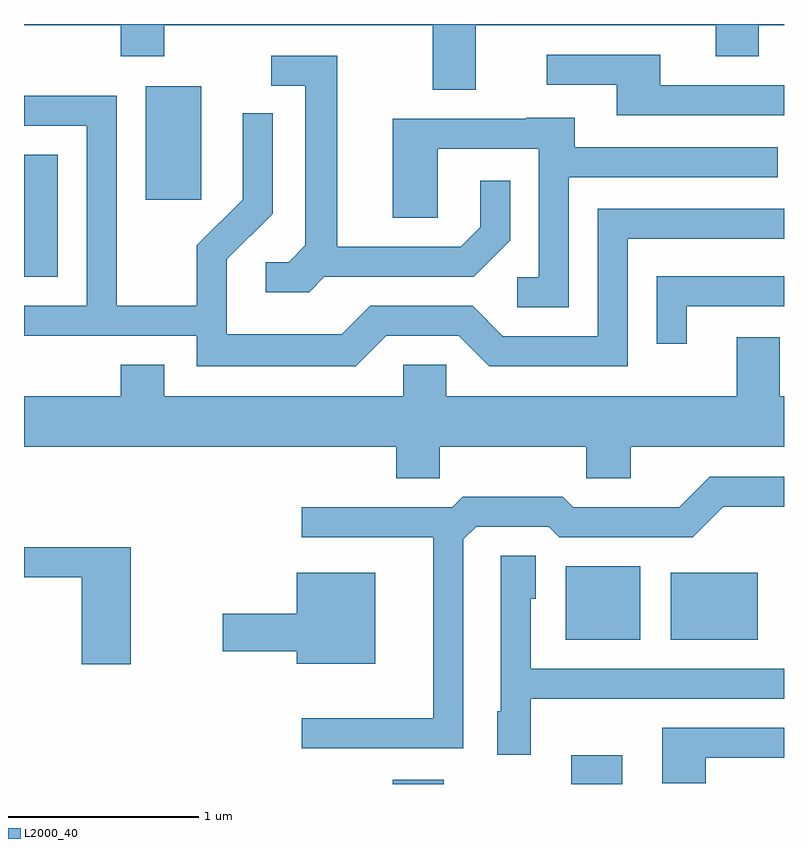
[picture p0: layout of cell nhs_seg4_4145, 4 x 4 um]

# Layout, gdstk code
import gdstk
lib = gdstk.Library(unit=1e-6, precision=1e-09)
def R(c, l, rs):  # rectangles x0, y0, x1, y1
    for r in rs: c.add(gdstk.rectangle(r[:2], r[2:], *l))
def P(c, l, *ps):  # polygons
    for p in ps: c.add(gdstk.Polygon(p, *l))
L2000_40 = (2000, 40)

nhs_seg4_4145 = lib.new_cell('nhs_seg4_4145')
R(nhs_seg4_4145, L2000_40, [(307.551,1383.982,307.819,1384.004), (308.491,1383.982,308.759,1384.134), (308.461,1384.741,308.854,1385.129), (309.016,1384.741,309.474,1385.094), (305.611,1386.651,305.789,1387.294), (306.251,1387.056,306.544,1387.654)])
P(nhs_seg4_4145, L2000_40, [(307.989,1387.976),(309.251,1387.976),(309.251,1387.811),(309.479,1387.811),(309.479,1387.976),(309.611,1387.976),(309.611,1387.982),(305.611,1387.982),(305.611,1387.976),(306.121,1387.976),(306.121,1387.811),(306.349,1387.811),(306.349,1387.976),(307.761,1387.976),(307.761,1387.636),(307.989,1387.636)],
  [(309.611,1387.659),(308.959,1387.659),(308.959,1387.819),(308.363,1387.819),(308.363,1387.661),(308.731,1387.661),(308.731,1387.501),(309.611,1387.501)],
  [(307.192,1386.651),(307.977,1386.651),(308.169,1386.844),(308.169,1387.158),(308.011,1387.158),(308.011,1386.912),(307.909,1386.809),(307.259,1386.809),(307.259,1387.814),(306.913,1387.814),(306.913,1387.656),(307.091,1387.656),(307.091,1386.817),(307.004,1386.729),(306.883,1386.729),(306.883,1386.571),(307.112,1386.571)],
  [(307.517,1386.341),(307.899,1386.341),(308.059,1386.181),(308.789,1386.181),(308.789,1386.851),(309.611,1386.851),(309.611,1387.009),(308.631,1387.009),(308.631,1386.339),(308.132,1386.339),(307.972,1386.499),(307.434,1386.499),(307.284,1386.349),(306.679,1386.349),(306.679,1386.744),(306.919,1386.984),(306.919,1387.513),(306.761,1387.513),(306.761,1387.057),(306.521,1386.817),(306.521,1386.499),(306.099,1386.499),(306.099,1387.604),(305.611,1387.604),(305.611,1387.446),(305.941,1387.446),(305.941,1386.499),(305.611,1386.499),(305.611,1386.341),(306.521,1386.341),(306.521,1386.181),(307.357,1386.181)],
  [(308.479,1387.176),(309.578,1387.176),(309.578,1387.334),(308.509,1387.334),(308.509,1387.489),(308.255,1387.489),(308.255,1387.484),(307.551,1387.484),(307.551,1386.961),(307.789,1386.961),(307.789,1387.326),(308.321,1387.326),(308.321,1386.649),(308.208,1386.649),(308.208,1386.491),(308.479,1386.491)],
  [(309.099,1386.496),(309.611,1386.496),(309.611,1386.654),(308.941,1386.654),(308.941,1386.298),(309.099,1386.298)],
  [(307.799,1385.756),(308.571,1385.756),(308.571,1385.591),(308.804,1385.591),(308.804,1385.756),(309.611,1385.756),(309.611,1386.024),(309.589,1386.024),(309.589,1386.334),(309.361,1386.334),(309.361,1386.024),(307.834,1386.024),(307.834,1386.189),(307.606,1386.189),(307.606,1386.024),(306.349,1386.024),(306.349,1386.189),(306.121,1386.189),(306.121,1386.024),(305.611,1386.024),(305.611,1385.756),(307.571,1385.756),(307.571,1385.591),(307.799,1385.591)],
  [(307.924,1385.269),(307.992,1385.336),(308.374,1385.336),(308.429,1385.281),(309.132,1385.281),(309.292,1385.441),(309.611,1385.441),(309.611,1385.599),(309.219,1385.599),(309.059,1385.439),(308.502,1385.439),(308.447,1385.494),(307.919,1385.494),(307.864,1385.439),(307.073,1385.439),(307.073,1385.281),(307.766,1385.281),(307.766,1384.329),(307.073,1384.329),(307.073,1384.171),(307.924,1384.171)],
  [(306.174,1385.229),(305.611,1385.229),(305.611,1385.071),(305.916,1385.071),(305.916,1384.611),(306.174,1384.611)],
  [(308.279,1384.431),(309.611,1384.431),(309.611,1384.589),(308.279,1384.589),(308.279,1384.956),(308.304,1384.956),(308.304,1385.184),(308.121,1385.184),(308.121,1384.364),(308.101,1384.364),(308.101,1384.136),(308.279,1384.136)],
  [(307.459,1385.094),(307.046,1385.094),(307.046,1384.879),(306.656,1384.879),(306.656,1384.681),(307.046,1384.681),(307.046,1384.616),(307.459,1384.616)],
  [(309.199,1384.121),(309.611,1384.121),(309.611,1384.279),(308.971,1384.279),(308.971,1383.986),(309.199,1383.986)])

lib.write_gds('nhs_seg4_4145.gds')
